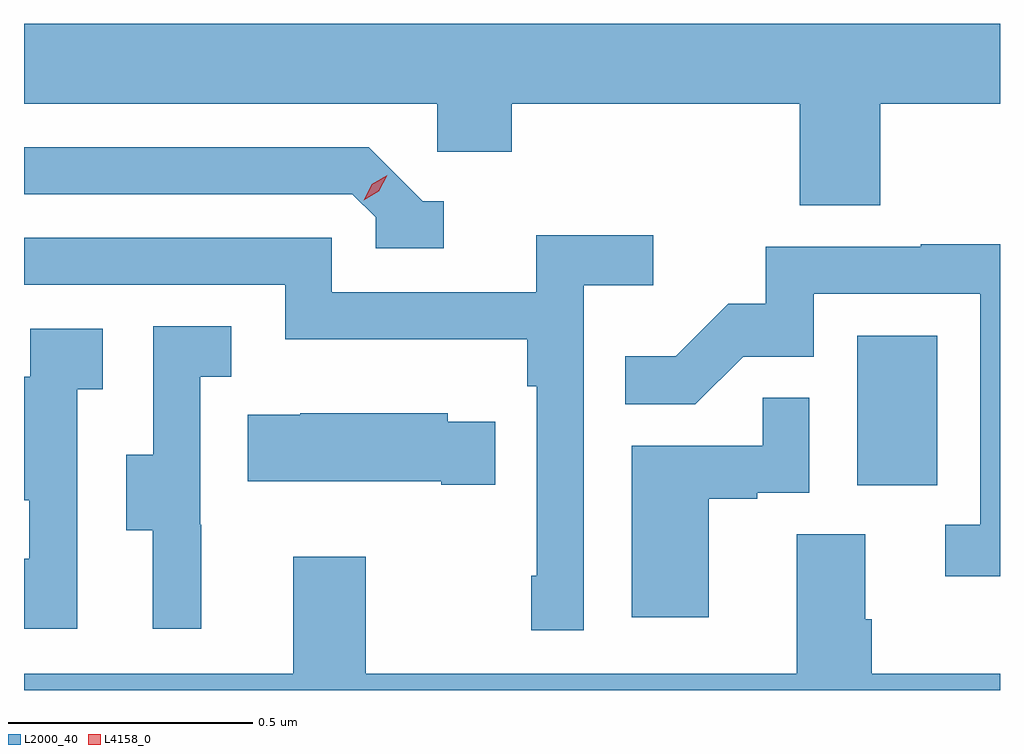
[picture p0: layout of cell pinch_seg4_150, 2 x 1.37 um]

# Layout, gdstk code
import gdstk
lib = gdstk.Library(unit=1e-6, precision=1e-09)
def R(c, l, rs):  # rectangles x0, y0, x1, y1
    for r in rs: c.add(gdstk.rectangle(r[:2], r[2:], *l))
def P(c, l, *ps):  # polygons
    for p in ps: c.add(gdstk.Polygon(p, *l))
L2000_40 = (2000, 40)
L4158_0 = (4158, 0)

pinch_seg4_150 = lib.new_cell('pinch_seg4_150')
R(pinch_seg4_150, L2000_40, [(1095.764,806.694,1095.928,807.001)])
P(pinch_seg4_150, L2000_40, [(1095.812,807.476),(1096.057,807.476),(1096.057,807.64),(1094.057,807.64),(1094.057,807.476),(1094.904,807.476),(1094.904,807.378),(1095.056,807.378),(1095.056,807.476),(1095.647,807.476),(1095.647,807.268),(1095.812,807.268)],
  [(1094.917,807.276),(1094.874,807.276),(1094.763,807.387),(1094.057,807.387),(1094.057,807.291),(1094.73,807.291),(1094.778,807.243),(1094.778,807.18),(1094.917,807.18)],
  [(1095.204,807.104),(1095.346,807.104),(1095.346,807.206),(1095.107,807.206),(1095.107,807.09),(1094.688,807.09),(1094.688,807.201),(1094.057,807.201),(1094.057,807.105),(1094.592,807.105),(1094.592,806.993),(1095.088,806.993),(1095.088,806.897),(1095.108,806.897),(1095.108,806.509),(1095.096,806.509),(1095.096,806.397),(1095.204,806.397)],
  [(1096.057,807.188),(1095.895,807.188),(1095.895,807.183),(1095.577,807.183),(1095.577,807.066),(1095.5,807.066),(1095.393,806.959),(1095.289,806.959),(1095.289,806.86),(1095.433,806.86),(1095.531,806.958),(1095.675,806.958),(1095.675,807.087),(1096.017,807.087),(1096.017,806.613),(1095.945,806.613),(1095.945,806.508),(1096.057,806.508)],
  [(1094.42,806.613),(1094.418,806.613),(1094.418,806.917),(1094.482,806.917),(1094.482,807.02),(1094.322,807.02),(1094.322,806.757),(1094.267,806.757),(1094.267,806.602),(1094.321,806.602),(1094.321,806.4),(1094.42,806.4)],
  [(1094.166,806.891),(1094.218,806.891),(1094.218,807.015),(1094.07,807.015),(1094.07,806.917),(1094.057,806.917),(1094.057,806.777),(1094.058,806.777),(1094.058,806.663),(1094.068,806.663),(1094.068,806.544),(1094.057,806.544),(1094.057,806.4),(1094.166,806.4)],
  [(1095.46,806.667),(1095.56,806.667),(1095.56,806.679),(1095.666,806.679),(1095.666,806.873),(1095.571,806.873),(1095.571,806.775),(1095.302,806.775),(1095.302,806.424),(1095.46,806.424)],
  [(1095.023,806.824),(1094.925,806.824),(1094.925,806.842),(1094.623,806.842),(1094.623,806.839),(1094.515,806.839),(1094.515,806.702),(1094.912,806.702),(1094.912,806.695),(1095.023,806.695)],
  [(1096.057,806.308),(1095.794,806.308),(1095.794,806.42),(1095.781,806.42),(1095.781,806.594),(1095.641,806.594),(1095.641,806.308),(1094.757,806.308),(1094.757,806.548),(1094.609,806.548),(1094.609,806.308),(1094.057,806.308),(1094.057,806.274),(1096.057,806.274)])
P(pinch_seg4_150, L4158_0, [(1094.753,807.278),(1094.753,807.278),(1094.77,807.311),(1094.801,807.329),(1094.801,807.329),(1094.801,807.329),(1094.784,807.297),(1094.753,807.278)])

lib.write_gds('pinch_seg4_150.gds')
